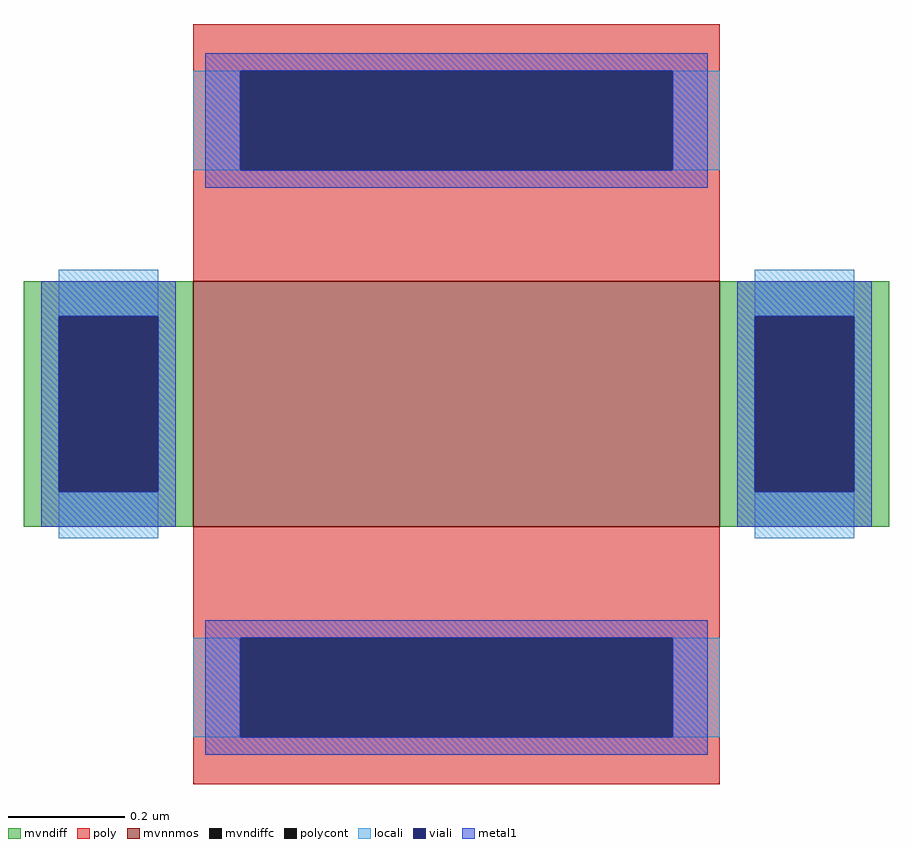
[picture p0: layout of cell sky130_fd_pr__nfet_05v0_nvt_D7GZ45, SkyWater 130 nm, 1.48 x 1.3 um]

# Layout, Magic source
magic
tech sky130A
<< mvnnmos >>
rect -45 -21 45 21
<< mvndiff >>
rect -74 15 -45 21
rect -74 -15 -68 15
rect -51 -15 -45 15
rect -74 -21 -45 -15
rect 45 15 74 21
rect 45 -15 51 15
rect 68 -15 74 15
rect 45 -21 74 -15
<< mvndiffc >>
rect -68 -15 -51 15
rect 51 -15 68 15
<< poly >>
rect -45 57 45 65
rect -45 40 -37 57
rect 37 40 45 57
rect -45 21 45 40
rect -45 -40 45 -21
rect -45 -57 -37 -40
rect 37 -57 45 -40
rect -45 -65 45 -57
<< polycont >>
rect -37 40 37 57
rect -37 -57 37 -40
<< locali >>
rect -45 40 -37 57
rect 37 40 45 57
rect -68 15 -51 23
rect -68 -23 -51 -15
rect 51 15 68 23
rect 51 -23 68 -15
rect -45 -57 -37 -40
rect 37 -57 45 -40
<< viali >>
rect -37 40 37 57
rect -68 -15 -51 15
rect 51 -15 68 15
rect -37 -57 37 -40
<< metal1 >>
rect -43 57 43 60
rect -43 40 -37 57
rect 37 40 43 57
rect -43 37 43 40
rect -71 15 -48 21
rect -71 -15 -68 15
rect -51 -15 -48 15
rect -71 -21 -48 -15
rect 48 15 71 21
rect 48 -15 51 15
rect 68 -15 71 15
rect 48 -21 71 -15
rect -43 -40 43 -37
rect -43 -57 -37 -40
rect 37 -57 43 -40
rect -43 -60 43 -57
<< properties >>
string gencell sky130_fd_pr__nfet_05v0_nvt
string library sky130
string parameters w 0.420 l 0.90 m 1 nf 1 diffcov 100 polycov 100 guard 0 glc 1 grc 1 gtc 1 gbc 1 tbcov 100 rlcov 100 topc 1 botc 1 poverlap 0 doverlap 1 lmin 0.90 wmin 0.42 class mosfet compatible {sky130_fd_pr__nfet_01v8 sky130_fd_pr__nfet_01v8_lvt  sky130_fd_bs_flash__special_sonosfet_star  sky130_fd_pr__nfet_g5v0d10v5 sky130_fd_pr__nfet_05v0_nvt  sky130_fd_pr__nfet_03v3_nvt} full_metal 1 viasrc 100 viadrn 100 viagate 100 viagb 0 viagr 0 viagl 0 viagt 0
<< end >>
